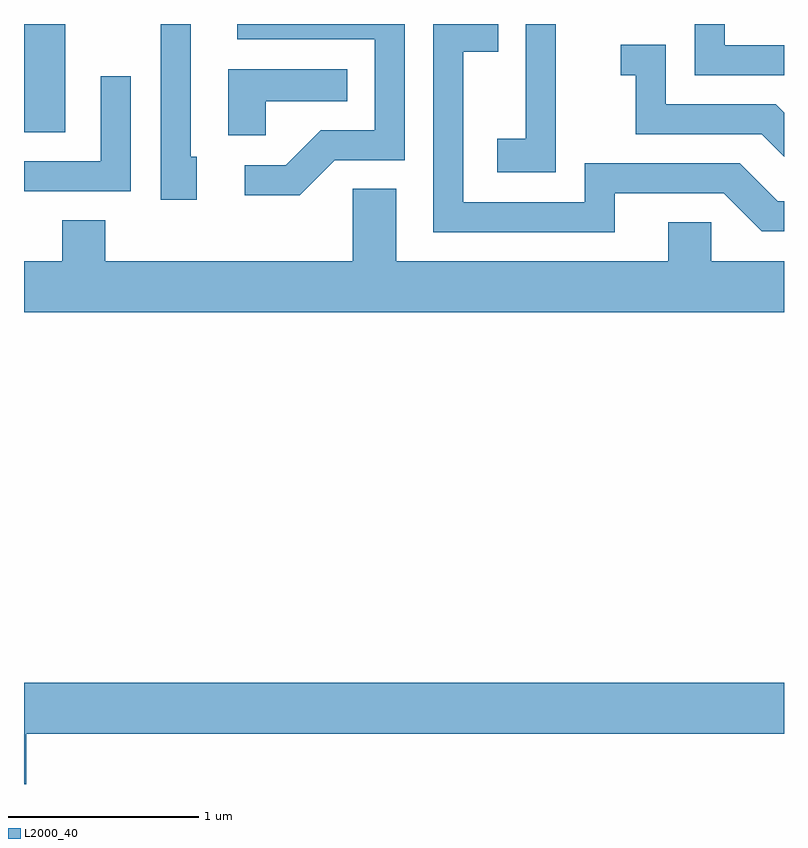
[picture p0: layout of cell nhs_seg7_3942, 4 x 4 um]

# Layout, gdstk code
import gdstk
lib = gdstk.Library(unit=1e-6, precision=1e-09)
def R(c, l, rs):  # rectangles x0, y0, x1, y1
    for r in rs: c.add(gdstk.rectangle(r[:2], r[2:], *l))
def P(c, l, *ps):  # polygons
    for p in ps: c.add(gdstk.Polygon(p, *l))
L2000_40 = (2000, 40)

nhs_seg7_3942 = lib.new_cell('nhs_seg7_3942')
R(nhs_seg7_3942, L2000_40, [(305.611,1739.681,305.829,1740.252)])
P(nhs_seg7_3942, L2000_40, [(307.247,1739.536),(307.614,1739.536),(307.614,1740.252),(306.733,1740.252),(306.733,1740.171),(307.456,1740.171),(307.456,1739.694),(307.174,1739.694),(306.989,1739.509),(306.773,1739.509),(306.773,1739.351),(307.062,1739.351)],
  [(306.519,1739.554),(306.489,1739.554),(306.489,1740.252),(306.331,1740.252),(306.331,1739.326),(306.519,1739.326)],
  [(308.719,1739.361),(309.294,1739.361),(309.494,1739.161),(309.611,1739.161),(309.611,1739.319),(309.577,1739.319),(309.377,1739.519),(308.561,1739.519),(308.561,1739.314),(307.924,1739.314),(307.924,1740.106),(308.108,1740.106),(308.108,1740.252),(307.766,1740.252),(307.766,1739.156),(308.719,1739.156)],
  [(308.409,1740.252),(308.251,1740.252),(308.251,1739.649),(308.101,1739.649),(308.101,1739.471),(308.409,1739.471)],
  [(309.611,1740.139),(309.299,1740.139),(309.299,1740.252),(309.141,1740.252),(309.141,1739.981),(309.611,1739.981)],
  [(309.611,1739.785),(309.567,1739.829),(308.989,1739.829),(308.989,1740.144),(308.753,1740.144),(308.753,1739.981),(308.831,1739.981),(308.831,1739.671),(309.494,1739.671),(309.611,1739.554)],
  [(306.884,1739.846),(307.313,1739.846),(307.313,1740.014),(306.686,1740.014),(306.686,1739.666),(306.884,1739.666)],
  [(306.174,1739.978),(306.016,1739.978),(306.016,1739.529),(305.611,1739.529),(305.611,1739.371),(306.174,1739.371)],
  [(309.611,1739.004),(309.229,1739.004),(309.229,1739.209),(309.001,1739.209),(309.001,1739.004),(307.569,1739.004),(307.569,1739.384),(307.341,1739.384),(307.341,1739.004),(306.039,1739.004),(306.039,1739.219),(305.811,1739.219),(305.811,1739.004),(305.611,1739.004),(305.611,1738.736),(309.611,1738.736)],
  [(305.624,1736.516),(309.611,1736.516),(309.611,1736.784),(305.611,1736.784),(305.611,1736.252),(305.624,1736.252)])

lib.write_gds('nhs_seg7_3942.gds')
